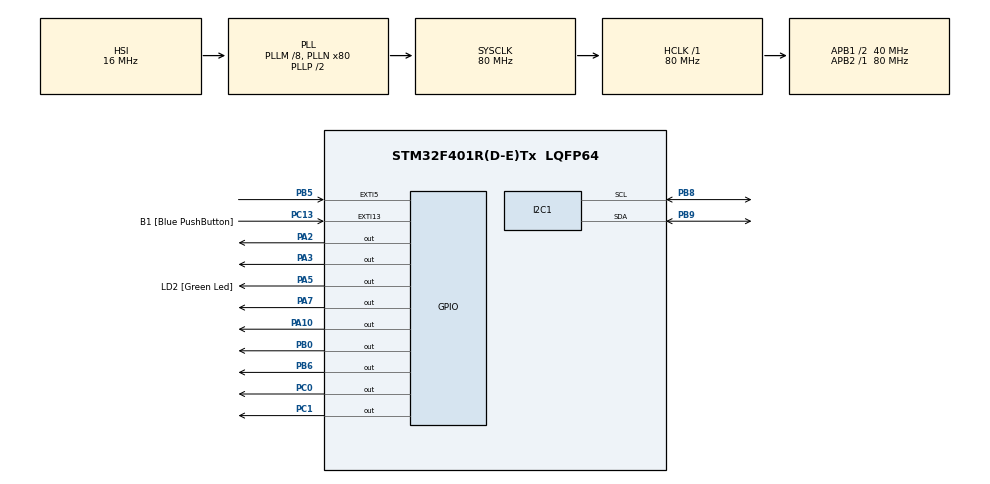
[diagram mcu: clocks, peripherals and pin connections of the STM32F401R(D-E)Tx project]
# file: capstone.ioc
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Mcu.Family=STM32F4
Mcu.Name=STM32F401R(D-E)Tx
Mcu.Package=LQFP64
NVIC.EXTI9_5_IRQn=true\:0\:0\:false\:false\:true\:true\:true\:true
NVIC.PriorityGroup=NVIC_PRIORITYGROUP_4
PA10.Signal=GPIO_Output
PA13.GPIO_Label=TMS
PA13.Mode=Trace_Asynchronous_SW
PA13.Signal=SYS_JTMS-SWDIO
PA14.GPIO_Label=TCK
PA14.Mode=Trace_Asynchronous_SW
PA14.Signal=SYS_JTCK-SWCLK
PA2.Signal=GPIO_Output
PA3.Signal=GPIO_Output
PA5.GPIO_Label=LD2 [Green Led]
PA5.GPIO_Mode=GPIO_MODE_OUTPUT_PP
PA5.GPIO_PuPd=GPIO_NOPULL
PA5.GPIO_Speed=GPIO_SPEED_FREQ_LOW
PA5.Signal=GPIO_Output
PA7.Signal=GPIO_Output
PB0.Signal=GPIO_Output
PB3.GPIO_Label=SWO
PB3.Mode=Trace_Asynchronous_SW
PB3.Signal=SYS_JTDO-SWO
PB5.Signal=GPXTI5
PB6.Signal=GPIO_Output
PB8.Mode=I2C
PB8.Signal=I2C1_SCL
PB9.Mode=I2C
PB9.Signal=I2C1_SDA
PC0.Signal=GPIO_Output
PC1.Signal=GPIO_Output
PC13-ANTI_TAMP.GPIO_Label=B1 [Blue PushButton]
PC13-ANTI_TAMP.GPIO_ModeDefaultEXTI=GPIO_MODE_IT_FALLING
PC13-ANTI_TAMP.GPIO_PuPd=GPIO_NOPULL
PC13-ANTI_TAMP.Signal=GPXTI13
PC14-OSC32_IN.Mode=LSE-External-Oscillator
PC14-OSC32_IN.Signal=RCC_OSC32_IN
PC15-OSC32_OUT.Mode=LSE-External-Oscillator
PC15-OSC32_OUT.Signal=RCC_OSC32_OUT
PH0\ -\ OSC_IN.Mode=HSE-External-Clock-Source
PH0\ -\ OSC_IN.Signal=RCC_OSC_IN
PH1\ -\ OSC_OUT.Mode=HSE-External-Clock-Source
PH1\ -\ OSC_OUT.Signal=RCC_OSC_OUT
ProjectManager.HeapSize=0x200
ProjectManager.StackSize=0x400
ProjectManager.TargetToolchain=STM32CubeIDE
RCC.48MHZClocksFreq_Value=22857142.85714286
RCC.AHBFreq_Value=80000000
RCC.APB1CLKDivider=RCC_HCLK_DIV2
RCC.APB1Freq_Value=40000000
RCC.APB1TimFreq_Value=80000000
RCC.APB2Freq_Value=80000000
RCC.APB2TimFreq_Value=80000000
RCC.CortexFreq_Value=80000000
RCC.HCLKFreq_Value=80000000
RCC.HSE_VALUE=8000000
RCC.HSI_VALUE=16000000
RCC.PLLM=8
RCC.PLLN=80
RCC.PLLQ=7
RCC.SYSCLKFreq_VALUE=80000000
RCC.SYSCLKSource=RCC_SYSCLKSOURCE_PLLCLK
RCC.VCOOutputFreq_Value=160000000
TIM3.Prescaler=79
VP_TIM3_VS_ClockSourceINT.Mode=Internal
board=NUCLEO-F401RE

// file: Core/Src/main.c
/* USER CODE BEGIN Header */
/**
  ******************************************************************************
  * @file           : main.c
  * @brief          : Main program body
  ******************************************************************************
  * @attention
  *
  * Copyright (c) 2025 STMicroelectronics.
  * All rights reserved.
  *
  * This software is licensed under terms that can be found in the LICENSE file
  * in the root directory of this software component.
  * If no LICENSE file comes with this software, it is provided AS-IS.
  *
  ******************************************************************************
  */
/* USER CODE END Header */
#include "main.h"

I2C_HandleTypeDef hi2c1;

TIM_HandleTypeDef htim3;

/* USER CODE BEGIN PV */

#define PCA9685_ADDRESS (0x40 << 1)
// Datasheet link --> https://cdn-shop.adafruit.com/datasheets/PCA9685.pdf
#define PCA9685_MODE1         0x0         // as in the datasheet page no 10/52
#define PCA9685_PRE_SCALE     0xFE        // as in the datasheet page no 13/52
#define PCA9685_LED0_ON_L     0x6         // as in the datasheet page no 10/52
#define PCA9685_MODE1_SLEEP_BIT      4    // as in the datasheet page no 14/52
#define PCA9685_MODE1_AI_BIT         5    // as in the datasheet page no 14/52
#define PCA9685_MODE1_RESTART_BIT    7    // as in the datasheet page no 14/52

// left stepper motor
#define DIR_PIN_L GPIO_PIN_6
#define DIR_PORT_L GPIOB
#define STEP_PIN_L GPIO_PIN_7
#define STEP_PORT_L GPIOA

// right stepper motor
#define DIR_PIN_R GPIO_PIN_0
#define DIR_PORT_R GPIOB
#define STEP_PIN_R GPIO_PIN_1
#define STEP_PORT_R GPIOC

uint32_t currentTime;
uint32_t prevTime;

volatile uint32_t STOP_STEPPERS;

#define ROWS 32
#define COLS 32
float depth[ROWS][COLS];
uint8_t rx_buffer[ROWS*COLS*4];

#define RESET_ACTUATOR_R1_PORT GPIOC
#define RESET_ACTUATOR_R1_PIN GPIO_PIN_0
#define RESET_ACTUATOR_B1_PORT GPIOA
#define RESET_ACTUATOR_B1_PIN GPIO_PIN_2

#define RESET_ACTUATOR_R2_PORT GPIOA
#define RESET_ACTUATOR_R2_PIN GPIO_PIN_3
#define RESET_ACTUATOR_B2_PORT GPIOA
#define RESET_ACTUATOR_B2_PIN GPIO_PIN_10

/* USER CODE END PV */

void SystemClock_Config(void);
static void MX_GPIO_Init(void);
static void MX_I2C1_Init(void);
static void MX_TIM3_Init(void);

/* USER CODE BEGIN 0 */

void PCA9685_SetBit(uint8_t devAddr, uint8_t Register, uint8_t Bit, uint8_t Value)
{
  uint8_t readValue;
  HAL_StatusTypeDef ret;

  // Read register
  ret = HAL_I2C_Mem_Read(&hi2c1, devAddr, Register, 1, &readValue, 1, 10);
  if (ret != HAL_OK) {
	  printf("I2C FAIL: Read bit reg 0x%02X\n", Register);
	  return;
  }

  // Read all 8 bits and set only one bit to 0/1 and write all 8 bits back
  HAL_I2C_Mem_Read(&hi2c1, devAddr, Register, 1, &readValue, 1, 10);
  if (Value == 0) readValue &= ~(1 << Bit);
  else readValue |= (1 << Bit);
  HAL_I2C_Mem_Write(&hi2c1, devAddr, Register, 1, &readValue, 1, 10);
  HAL_Delay(1);
}

void PCA9685_SetPWMFrequency(uint8_t devAddr, uint16_t frequency)
{
	uint8_t prescale;
	  if(frequency >= 1526) prescale = 0x03;
	  else if(frequency <= 24) prescale = 0xFF;
	  //  internal 25 MHz oscillator as in the datasheet page no 1/52
	  else prescale = 25000000 / (4096 * frequency);
	  // prescale changes 3 to 255 for 1526Hz to 24Hz as in the datasheet page no 1/52
	  PCA9685_SetBit(devAddr, PCA9685_MODE1, PCA9685_MODE1_SLEEP_BIT, 1);
	  HAL_I2C_Mem_Write(&hi2c1, devAddr, PCA9685_PRE_SCALE, 1, &prescale, 1, 10);
	  PCA9685_SetBit(devAddr, PCA9685_MODE1, PCA9685_MODE1_SLEEP_BIT, 0);
	  PCA9685_SetBit(devAddr, PCA9685_MODE1, PCA9685_MODE1_RESTART_BIT, 1);
}

void PCA9685_Init(uint8_t devAddr, uint16_t frequency)
{
	PCA9685_SetPWMFrequency(devAddr, frequency); // 50 Hz for servo
	PCA9685_SetBit(devAddr, PCA9685_MODE1, PCA9685_MODE1_AI_BIT, 1);

}

void PCA9685_SetPWM(uint8_t devAddr, uint8_t Channel, uint16_t OnTime, uint16_t OffTime)
{
  uint8_t registerAddress;
  uint8_t pwm[4];
  registerAddress = PCA9685_LED0_ON_L + (4 * Channel);
  // See example 1 in the datasheet page no 18/52
  pwm[0] = OnTime & 0xFF;
  pwm[1] = OnTime>>8;
  pwm[2] = OffTime & 0xFF;
  pwm[3] = OffTime>>8;
  HAL_StatusTypeDef ret = HAL_I2C_Mem_Write(&hi2c1, devAddr, registerAddress, 1, pwm, 4, 10);

  if (ret != HAL_OK) {
	  printf("I2C FAIL: PWM write ch %d\n", Channel);
  }
}

void PCA9685_SetServoAngle(uint8_t devAddr, uint8_t Channel, float Angle)
{
  float Value;
  // 50 Hz servo then 4095 Value --> 20 milliseconds
  // 0 degree --> 0.5 ms(102.4 Value) and 180 degree --> 2.5 ms(511.9 Value)
  Value = (Angle * (511.9 - 102.4) / 180.0) + 102.4;
  PCA9685_SetPWM(devAddr, Channel, 0, (uint16_t)Value);
}

void PCA9685_SetOutputMode(uint8_t devAddr) {
    uint8_t mode2;
    HAL_I2C_Mem_Read(&hi2c1, devAddr, 0x01, 1, &mode2, 1, 10);
    mode2 |= 0x04;
    HAL_I2C_Mem_Write(&hi2c1, devAddr, 0x01, 1, &mode2, 1, 10);
}

void microDelay (uint16_t delay)
{
  __HAL_TIM_SET_COUNTER(&htim3, 0);
  while (__HAL_TIM_GET_COUNTER(&htim3) < delay);
}

static inline void delayMicroseconds(uint16_t us) __attribute__((always_inline));

static inline void delayMicroseconds(uint16_t us)
{
    __HAL_TIM_SET_COUNTER(&htim3, 0);
    while (__HAL_TIM_GET_COUNTER(&htim3) < us);
}

void delayMilliseconds(uint32_t ms)
{
    // For each millisecond, delay 1000 microseconds
    for (uint32_t i = 0; i < ms; i++) {
        delayMicroseconds(1000);  // 1ms = 1000µs
    }
}

/* USER CODE END 0 */

int main(void)
{

  /* MCU Configuration--------------------------------------------------------*/

  /* Reset of all peripherals, Initializes the Flash interface and the Systick. */
  HAL_Init();

  /* Configure the system clock */
  SystemClock_Config();

  /* Initialize all configured peripherals */
  MX_GPIO_Init();
  MX_I2C1_Init();
  MX_TIM3_Init();
  /* USER CODE BEGIN 2 */

  // PCA9685_Init(PCA9685_ADDRESS, 50);
  HAL_TIM_Base_Start(&htim3);
  HAL_GPIO_WritePin(DIR_PORT_L, DIR_PIN_L, GPIO_PIN_SET);
  delayMilliseconds(100);
  HAL_GPIO_WritePin(DIR_PORT_L, DIR_PIN_L, GPIO_PIN_RESET);
  delayMilliseconds(100);

  HAL_GPIO_WritePin(DIR_PORT_R, DIR_PIN_R, GPIO_PIN_SET);
  delayMilliseconds(100);
  HAL_GPIO_WritePin(DIR_PORT_R, DIR_PIN_R, GPIO_PIN_RESET);
  delayMilliseconds(100);

  STOP_STEPPERS = 0;
  /* USER CODE END 2 */

  /* Infinite loop */
  /* USER CODE BEGIN WHILE */
  while (1)
  {
	  // reset actuators extend
	  HAL_GPIO_WritePin(RESET_ACTUATOR_R1_PORT, RESET_ACTUATOR_R1_PIN, GPIO_PIN_SET);
	  HAL_GPIO_WritePin(RESET_ACTUATOR_B1_PORT, RESET_ACTUATOR_B1_PIN, GPIO_PIN_RESET);

	  HAL_GPIO_WritePin(RESET_ACTUATOR_R2_PORT, RESET_ACTUATOR_R2_PIN, GPIO_PIN_SET);
	  HAL_GPIO_WritePin(RESET_ACTUATOR_B2_PORT, RESET_ACTUATOR_B2_PIN, GPIO_PIN_RESET);

	  // wait for them to extend
	  HAL_Delay(5000);

	  // reset actuators retract
	  HAL_GPIO_WritePin(RESET_ACTUATOR_R1_PORT, RESET_ACTUATOR_R1_PIN, GPIO_PIN_SET);
	  HAL_GPIO_WritePin(RESET_ACTUATOR_B1_PORT, RESET_ACTUATOR_B1_PIN, GPIO_PIN_RESET);

	  HAL_GPIO_WritePin(RESET_ACTUATOR_R2_PORT, RESET_ACTUATOR_R2_PIN, GPIO_PIN_SET);
	  HAL_GPIO_WritePin(RESET_ACTUATOR_B2_PORT, RESET_ACTUATOR_B2_PIN, GPIO_PIN_RESET);

	  // wait for them to retract
	  HAL_Delay(5000);

	  // reset actuators extend
	  HAL_GPIO_WritePin(RESET_ACTUATOR_R1_PORT, RESET_ACTUATOR_R1_PIN, GPIO_PIN_SET);
	  HAL_GPIO_WritePin(RESET_ACTUATOR_B1_PORT, RESET_ACTUATOR_B1_PIN, GPIO_PIN_RESET);

	  HAL_GPIO_WritePin(RESET_ACTUATOR_R2_PORT, RESET_ACTUATOR_R2_PIN, GPIO_PIN_SET);
	  HAL_GPIO_WritePin(RESET_ACTUATOR_B2_PORT, RESET_ACTUATOR_B2_PIN, GPIO_PIN_RESET);

	  // interrupt to stop everything
//	  if (STOP_STEPPERS) {
//		  PCA9685_SetServoAngle(PCA9685_ADDRESS, 0, 0);
//		  PCA9685_SetServoAngle(PCA9685_ADDRESS2, 0, 0);
//		  while (1);
//	  }

	  // receiving UART info
//	  HAL_StatusTypeDef status = HAL_UART_Receive(&huart2, rx_buffer, sizeof(rx_buffer), HAL_MAX_DELAY);
//
//	  if (status == HAL_OK)
//	  {
//		  for (int i = 0; i < ROWS * COLS; i++)
//		  {
//			  memcpy(&depth[i / COLS][i % COLS], &rx_buffer[i * 4], sizeof(float));
//		  }
//		  HAL_GPIO_WritePin(GPIOC, GPIO_PIN_0, GPIO_PIN_SET);
//		  HAL_Delay(200);
//		  HAL_GPIO_WritePin(GPIOC, GPIO_PIN_0, GPIO_PIN_RESET);
//		  HAL_Delay(200);
//		  HAL_GPIO_WritePin(GPIOC, GPIO_PIN_0, GPIO_PIN_SET);
//		  HAL_Delay(200);
//		  HAL_GPIO_WritePin(GPIOC, GPIO_PIN_0, GPIO_PIN_RESET);
//	  }

	  // servo motor spin
	  // pwm expander servos
//	  for (int i = 0; i < 16; i++) {
//		  PCA9685_SetServoAngle(PCA9685_ADDRESS, i, 0);
//	  }

	  // gantry movement
	  // delayMilliseconds(1000);

	  // moving down
//	  HAL_GPIO_WritePin(DIR_PORT_L, DIR_PIN_L, GPIO_PIN_SET);
//	  HAL_GPIO_WritePin(DIR_PORT_R, DIR_PIN_R, GPIO_PIN_RESET);

	  // moving up
//	  HAL_GPIO_WritePin(DIR_PORT_L, DIR_PIN_L, GPIO_PIN_RESET);
//	  HAL_GPIO_WritePin(DIR_PORT_R, DIR_PIN_R, GPIO_PIN_SET);
//	  // delayMicroseconds(20000);
//	  for (int i = 0; i < 10000; i++) {
//
//		  if (STOP_STEPPERS) {
//			  break;
//		  }
//		  HAL_GPIO_WritePin(STEP_PORT_L, STEP_PIN_L, GPIO_PIN_SET);
//		  HAL_GPIO_WritePin(STEP_PORT_R, STEP_PIN_R, GPIO_PIN_SET);
//		  delayMicroseconds(100);
//		  HAL_GPIO_WritePin(STEP_PORT_L, STEP_PIN_L, GPIO_PIN_RESET);
//		  HAL_GPIO_WritePin(STEP_PORT_R, STEP_PIN_R, GPIO_PIN_RESET);
//		  delayMicroseconds(100);
//	  }

    /* USER CODE END WHILE */

  }
}

void SystemClock_Config(void)
{
  RCC_OscInitTypeDef RCC_OscInitStruct = {0};
  RCC_ClkInitTypeDef RCC_ClkInitStruct = {0};

  /** Configure the main internal regulator output voltage
  */
  __HAL_RCC_PWR_CLK_ENABLE();
  __HAL_PWR_VOLTAGESCALING_CONFIG(PWR_REGULATOR_VOLTAGE_SCALE2);

  /** Initializes the RCC Oscillators according to the specified parameters
  * in the RCC_OscInitTypeDef structure.
  */
  RCC_OscInitStruct.OscillatorType = RCC_OSCILLATORTYPE_HSI;
  RCC_OscInitStruct.HSIState = RCC_HSI_ON;
  RCC_OscInitStruct.HSICalibrationValue = RCC_HSICALIBRATION_DEFAULT;
  RCC_OscInitStruct.PLL.PLLState = RCC_PLL_ON;
  RCC_OscInitStruct.PLL.PLLSource = RCC_PLLSOURCE_HSI;
  RCC_OscInitStruct.PLL.PLLM = 8;
  RCC_OscInitStruct.PLL.PLLN = 80;
  RCC_OscInitStruct.PLL.PLLP = RCC_PLLP_DIV2;
  RCC_OscInitStruct.PLL.PLLQ = 7;
  if (HAL_RCC_OscConfig(&RCC_OscInitStruct) != HAL_OK)
  {
    Error_Handler();
  }

  /** Initializes the CPU, AHB and APB buses clocks
  */
  RCC_ClkInitStruct.ClockType = RCC_CLOCKTYPE_HCLK|RCC_CLOCKTYPE_SYSCLK
                              |RCC_CLOCKTYPE_PCLK1|RCC_CLOCKTYPE_PCLK2;
  RCC_ClkInitStruct.SYSCLKSource = RCC_SYSCLKSOURCE_PLLCLK;
  RCC_ClkInitStruct.AHBCLKDivider = RCC_SYSCLK_DIV1;
  RCC_ClkInitStruct.APB1CLKDivider = RCC_HCLK_DIV2;
  RCC_ClkInitStruct.APB2CLKDivider = RCC_HCLK_DIV1;

  if (HAL_RCC_ClockConfig(&RCC_ClkInitStruct, FLASH_LATENCY_2) != HAL_OK)
  {
    Error_Handler();
  }
}

static void MX_I2C1_Init(void)
{

  hi2c1.Instance = I2C1;
  hi2c1.Init.ClockSpeed = 100000;
  hi2c1.Init.DutyCycle = I2C_DUTYCYCLE_2;
  hi2c1.Init.OwnAddress1 = 0;
  hi2c1.Init.AddressingMode = I2C_ADDRESSINGMODE_7BIT;
  hi2c1.Init.DualAddressMode = I2C_DUALADDRESS_DISABLE;
  hi2c1.Init.OwnAddress2 = 0;
  hi2c1.Init.GeneralCallMode = I2C_GENERALCALL_DISABLE;
  hi2c1.Init.NoStretchMode = I2C_NOSTRETCH_DISABLE;
  if (HAL_I2C_Init(&hi2c1) != HAL_OK)
  {
    Error_Handler();
  }

}

static void MX_TIM3_Init(void)
{

  TIM_ClockConfigTypeDef sClockSourceConfig = {0};
  TIM_MasterConfigTypeDef sMasterConfig = {0};

  htim3.Instance = TIM3;
  htim3.Init.Prescaler = 79;
  htim3.Init.CounterMode = TIM_COUNTERMODE_UP;
  htim3.Init.Period = 65535;
  htim3.Init.ClockDivision = TIM_CLOCKDIVISION_DIV1;
  htim3.Init.AutoReloadPreload = TIM_AUTORELOAD_PRELOAD_DISABLE;
  if (HAL_TIM_Base_Init(&htim3) != HAL_OK)
  {
    Error_Handler();
  }
  sClockSourceConfig.ClockSource = TIM_CLOCKSOURCE_INTERNAL;
  if (HAL_TIM_ConfigClockSource(&htim3, &sClockSourceConfig) != HAL_OK)
  {
    Error_Handler();
  }
  sMasterConfig.MasterOutputTrigger = TIM_TRGO_RESET;
  sMasterConfig.MasterSlaveMode = TIM_MASTERSLAVEMODE_DISABLE;
  if (HAL_TIMEx_MasterConfigSynchronization(&htim3, &sMasterConfig) != HAL_OK)
  {
    Error_Handler();
  }

}

static void MX_GPIO_Init(void)
{
  GPIO_InitTypeDef GPIO_InitStruct = {0};

  /* GPIO Ports Clock Enable */
  __HAL_RCC_GPIOC_CLK_ENABLE();
  __HAL_RCC_GPIOH_CLK_ENABLE();
  __HAL_RCC_GPIOA_CLK_ENABLE();
  __HAL_RCC_GPIOB_CLK_ENABLE();

  /*Configure GPIO pin Output Level */
  HAL_GPIO_WritePin(GPIOC, GPIO_PIN_0|GPIO_PIN_1, GPIO_PIN_RESET);

  /*Configure GPIO pin Output Level */
  HAL_GPIO_WritePin(GPIOA, GPIO_PIN_2|GPIO_PIN_3|LD2_Pin|GPIO_PIN_7
                          |GPIO_PIN_10, GPIO_PIN_RESET);

  /*Configure GPIO pin Output Level */
  HAL_GPIO_WritePin(GPIOB, GPIO_PIN_0|GPIO_PIN_6, GPIO_PIN_RESET);

  /*Configure GPIO pin : B1_Pin */
  GPIO_InitStruct.Pin = B1_Pin;
  GPIO_InitStruct.Mode = GPIO_MODE_IT_FALLING;
  GPIO_InitStruct.Pull = GPIO_NOPULL;
  HAL_GPIO_Init(B1_GPIO_Port, &GPIO_InitStruct);

  /*Configure GPIO pins : PC0 PC1 */
  GPIO_InitStruct.Pin = GPIO_PIN_0|GPIO_PIN_1;
  GPIO_InitStruct.Mode = GPIO_MODE_OUTPUT_PP;
  GPIO_InitStruct.Pull = GPIO_NOPULL;
  GPIO_InitStruct.Speed = GPIO_SPEED_FREQ_LOW;
  HAL_GPIO_Init(GPIOC, &GPIO_InitStruct);

  /*Configure GPIO pins : PA2 PA3 LD2_Pin PA7
                           PA10 */
  GPIO_InitStruct.Pin = GPIO_PIN_2|GPIO_PIN_3|LD2_Pin|GPIO_PIN_7
                          |GPIO_PIN_10;
  GPIO_InitStruct.Mode = GPIO_MODE_OUTPUT_PP;
  GPIO_InitStruct.Pull = GPIO_NOPULL;
  GPIO_InitStruct.Speed = GPIO_SPEED_FREQ_LOW;
  HAL_GPIO_Init(GPIOA, &GPIO_InitStruct);

  /*Configure GPIO pins : PB0 PB6 */
  GPIO_InitStruct.Pin = GPIO_PIN_0|GPIO_PIN_6;
  GPIO_InitStruct.Mode = GPIO_MODE_OUTPUT_PP;
  GPIO_InitStruct.Pull = GPIO_NOPULL;
  GPIO_InitStruct.Speed = GPIO_SPEED_FREQ_LOW;
  HAL_GPIO_Init(GPIOB, &GPIO_InitStruct);

  /*Configure GPIO pin : PB5 */
  GPIO_InitStruct.Pin = GPIO_PIN_5;
  GPIO_InitStruct.Mode = GPIO_MODE_IT_RISING;
  GPIO_InitStruct.Pull = GPIO_NOPULL;
  HAL_GPIO_Init(GPIOB, &GPIO_InitStruct);

  /* EXTI interrupt init*/
  HAL_NVIC_SetPriority(EXTI9_5_IRQn, 0, 0);
  HAL_NVIC_EnableIRQ(EXTI9_5_IRQn);

}

/* USER CODE BEGIN 4 */

int _write(int file, char *ptr, int len)
{
  (void)file;
  int DataIdx;

  for (DataIdx = 0; DataIdx < len; DataIdx++)
  {
    ITM_SendChar(*ptr++);
  }
  return len;
}

void HAL_GPIO_EXTI_Callback(uint16_t GPIO_Pin)
{
  currentTime = HAL_GetTick();
  // with debounce
  // (GPIO_Pin == GPIO_PIN_5 && (currentTime - prevTime > 5))
  if (GPIO_Pin == GPIO_PIN_5) {

	  STOP_STEPPERS = 1;

	  // reset actuators extend
	  HAL_GPIO_WritePin(RESET_ACTUATOR_R1_PORT, RESET_ACTUATOR_R1_PIN, GPIO_PIN_SET);
	  HAL_GPIO_WritePin(RESET_ACTUATOR_B1_PORT, RESET_ACTUATOR_B1_PIN, GPIO_PIN_RESET);

	  HAL_GPIO_WritePin(RESET_ACTUATOR_R2_PORT, RESET_ACTUATOR_R2_PIN, GPIO_PIN_SET);
	  HAL_GPIO_WritePin(RESET_ACTUATOR_B2_PORT, RESET_ACTUATOR_B2_PIN, GPIO_PIN_RESET);

	  // wait for them to extend
	  HAL_Delay(5000);

	  // reset actuators retract
	  HAL_GPIO_WritePin(RESET_ACTUATOR_R1_PORT, RESET_ACTUATOR_R1_PIN, GPIO_PIN_SET);
	  HAL_GPIO_WritePin(RESET_ACTUATOR_B1_PORT, RESET_ACTUATOR_B1_PIN, GPIO_PIN_RESET);

	  HAL_GPIO_WritePin(RESET_ACTUATOR_R2_PORT, RESET_ACTUATOR_R2_PIN, GPIO_PIN_SET);
	  HAL_GPIO_WritePin(RESET_ACTUATOR_B2_PORT, RESET_ACTUATOR_B2_PIN, GPIO_PIN_RESET);

	  // wait for them to retract
	  HAL_Delay(5000);

	  // reset actuators extend
	  HAL_GPIO_WritePin(RESET_ACTUATOR_R1_PORT, RESET_ACTUATOR_R1_PIN, GPIO_PIN_SET);
	  HAL_GPIO_WritePin(RESET_ACTUATOR_B1_PORT, RESET_ACTUATOR_B1_PIN, GPIO_PIN_RESET);

	  HAL_GPIO_WritePin(RESET_ACTUATOR_R2_PORT, RESET_ACTUATOR_R2_PIN, GPIO_PIN_SET);
	  HAL_GPIO_WritePin(RESET_ACTUATOR_B2_PORT, RESET_ACTUATOR_B2_PIN, GPIO_PIN_RESET);

	  prevTime = currentTime;
  }

}

/* USER CODE END 4 */

void Error_Handler(void)
{
  __disable_irq();
  while (1)
  {
  }
}
